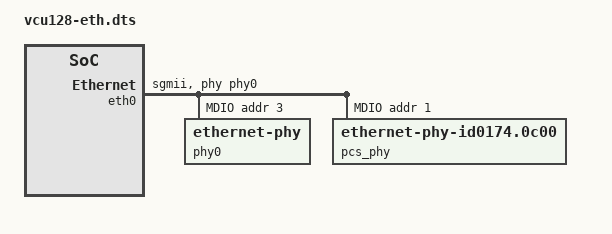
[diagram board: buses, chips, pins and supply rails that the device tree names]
// Device tree for the VCU128 RocketVCU128EthernetConfig design: the chip's generated device tree plus the AXI
// 1G Ethernet and its AXI DMA, which live in the FPGA harness (fpga/src/main/scala/vcu128/Ethernet.scala) and so are
// not in the chip's own device tree. Nodes are referenced by path because the generated labels change between
// builds. PHY settings are those of the working VCU128 MicroBlaze example (example_ethernet, system-user.dtsi).

/include/ "chipyard.fpga.vcu128.VCU128FPGATestHarness.RocketVCU128EthernetConfig.dts"

&{/soc/mmio-port-axi4@60000000} {
	eth0: ethernet@60000000 {
		compatible = "xlnx,axi-ethernet-1.00.a";
		// Ethernet core registers, then the DMA's (the driver uses the DMA directly, without "dmas")
		reg = <0x60000000 0x40000>, <0x60100000 0x10000>;
		// Chip external interrupts 0/1/2 = PLIC sources 1/2/3: DMA TX, DMA RX, Ethernet core
		interrupt-parent = <&{/soc/interrupt-controller@c000000}>;
		interrupts = <1>, <2>, <3>;
		// The register interface runs on the 50 MHz bus clock; the driver derives the MDIO clock from it
		clocks = <&{/soc/sbus_clock}>;
		clock-names = "s_axi_lite_clk";
		phy-mode = "sgmii";
		// SGMII autonegotiation between the core's PCS/PMA and the DP83867. Without this, phylink configures the
		// PCS out-of-band (autonegotiation off) while the PHY keeps SGMII autonegotiation on, so the PHY never
		// passes frames to the FPGA: the copper link comes up but nothing is received.
		managed = "in-band-status";
		phy-handle = <&phy0>;
		pcs-handle = <&pcs_phy>;
		xlnx,rxmem = <0x1000>;
		xlnx,txcsum = <0x0>;
		xlnx,rxcsum = <0x0>;
		// Placeholder, locally administered (Xilinx OUI with the local bit set). The board's real address goes in
		// the git-ignored file mac-address; host-init.sh writes it into local-mac.dtsi, included below.
		local-mac-address = [02 0a 35 00 00 01];

		mdio {
			#address-cells = <1>;
			#size-cells = <0>;

			// TI DP83867 on the VCU128
			phy0: ethernet-phy@3 {
				reg = <3>;
				ti,sgmii-ref-clock-output-enable;
				ti,dp83867-rxctrl-strap-quirk;
				ti,rx-internal-delay = <0x8>;
				ti,tx-internal-delay = <0xa>;
				ti,fifo-depth = <0x1>;
			};

			// The core's internal 1G PCS/PMA (PHYADDR 1 in the IP settings)
			pcs_phy: ethernet-phy@1 {
				compatible = "ethernet-phy-id0174.0c00";
				reg = <1>;
			};
		};
	};
};

// Generated by host-init.sh from the git-ignored file mac-address (overrides local-mac-address above)
/include/ "local-mac.dtsi"
